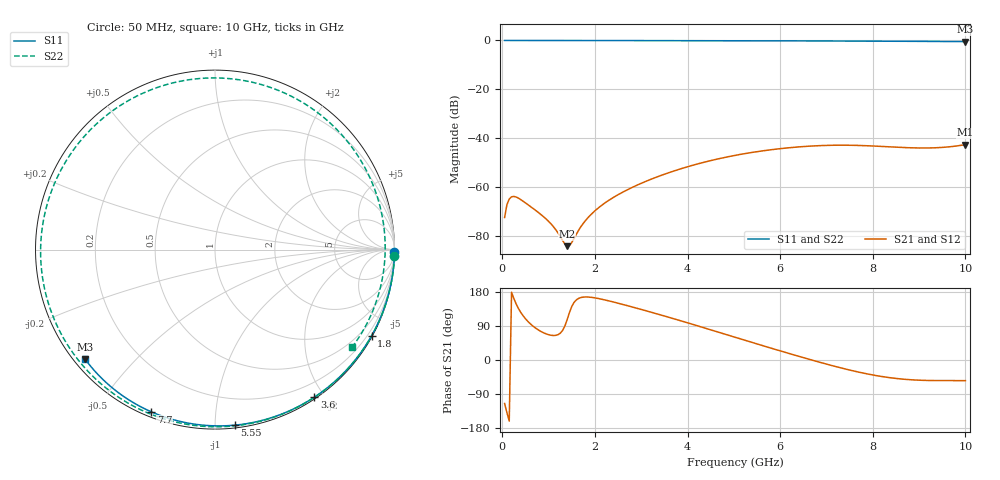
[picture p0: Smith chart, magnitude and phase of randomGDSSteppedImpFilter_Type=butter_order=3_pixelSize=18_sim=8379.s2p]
! freq	dB(S11)	phase(S11)	dB(S12)	phase(S12)
!  dB(S21)	phase(S21)	dB(S22)	phase(S22)
!S-par simulation data
#  GHz  S  DB  R 50
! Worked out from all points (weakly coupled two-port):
!   200 points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, 50 MHz to 10 GHz, reference 50 ohm
!   highest |S21| = -42.55 dB at 10 GHz (marker M1); lowest = -84.0 dB at 1.4 GHz (marker M2)
!   lowest |S11| = -0.5 dB at 10 GHz (marker M3), VSWR 36.68, Z = 1.55 - j18.3 ohm
!   |S11| at or under -10 dB: nowhere
!   |S22| runs from -0.6 to 0.0 dB; largest |S21 - S12| = 0
!   S11 on the Smith chart (normalised r, x): 50 MHz: open; 1.8 GHz: 0.03, -3.90; 3.6 GHz: 0.02, -1.88; 5.55 GHz: 0.02, -1.12; 7.7 GHz: 0.02, -0.68; 10 GHz: 0.03, -0.37
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0.05  -0.00 -0.8  -72.31 -114.9  -72.31 -114.9  -0.00 -1.9
0.1  -0.00 -1.6  -67.05 -138.9  -67.05 -138.9  -0.00 -3.9
0.15  -0.00 -2.4  -64.78 -161.2  -64.78 -161.2  -0.00 -5.8
0.3  -0.00 -4.9  -63.95 147.7  -63.95 147.7  -0.01 -11.6
0.9  -0.02 -14.5  -72.13 71.3  -72.13 71.3  -0.04 -34.6
1.25  -0.02 -20.1  -80.02 70.5  -80.02 70.5  -0.06 -47.8
1.4  -0.03 -22.4  -84.02 106.2  -84.02 106.2  -0.07 -53.4
1.55  -0.03 -24.8  -80.80 152.0  -80.80 152.0  -0.07 -58.9
1.75  -0.04 -27.9  -74.67 166.0  -74.67 166.0  -0.08 -66.3
1.8  -0.04 -28.7  -73.48 166.4  -73.48 166.4  -0.09 -68.1
2.4  -0.05 -38.0  -64.10 153.0  -64.10 153.0  -0.11 -89.7
3.4  -0.07 -53.1  -55.32 119.7  -55.32 119.7  -0.16 -124.8
3.6  -0.08 -56.1  -53.98 112.6  -53.98 112.6  -0.17 -131.8
4.35  -0.10 -66.9  -49.77 85.2  -49.77 85.2  -0.21 -158.1
5.05  -0.12 -76.8  -46.85 59.1  -46.85 59.1  -0.26 176.6
5.55  -0.14 -83.6  -45.28 40.5  -45.28 40.5  -0.29 157.7
6.7  -0.19 -98.8  -43.09 -0.7  -43.09 -0.7  -0.36 110.6
7.2  -0.22 -105.2  -42.78 -17.3  -42.78 -17.3  -0.39 88.5
7.7  -0.26 -111.5  -42.88 -32.1  -42.88 -32.1  -0.40 65.8
8.35  -0.31 -119.6  -43.44 -46.4  -43.44 -46.4  -0.42 36.0
9.15  -0.38 -129.4  -43.92 -53.9  -43.92 -53.9  -0.46 0.3
10  -0.47 -139.7  -42.55 -54.5  -42.55 -54.5  -0.56 -35.5
